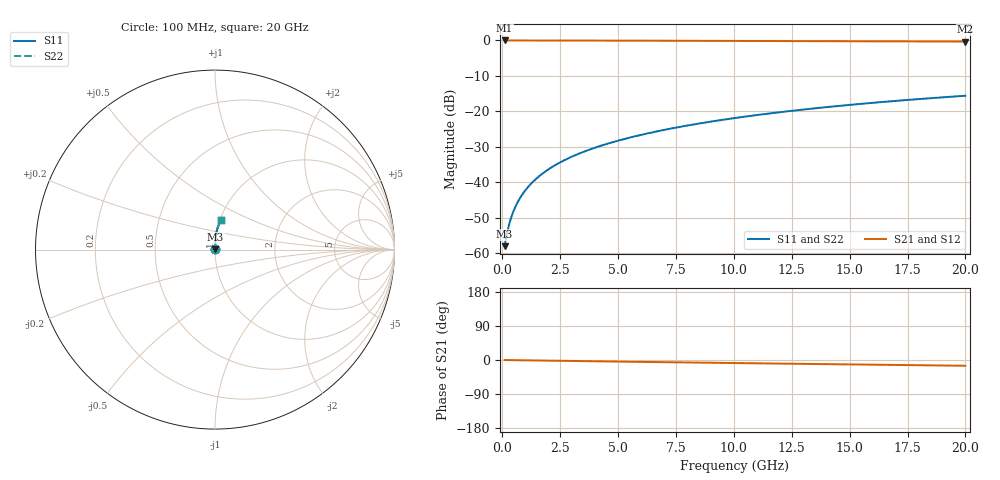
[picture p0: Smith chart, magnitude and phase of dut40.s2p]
! Touchstone file exported from HFSS 2024.1.0
!  File:  C:/UserFiles/LocalFiles/RDL_TSV_Batchsim/temp_RDL_bottom_40_1778692555.aedt
!  Generated:  01:18:01 AM May 14, 2026
!  Design:  RDL_bottom
!  Project:  temp_RDL_bottom_40_1778692555
!  Setup:  Setup1
!  Solution:  Sweep
! Variables:
!  dtsv = 10.80580581um
!  hbump = 3um
!  htsv = 79.98um
!  ldown = 195.08um
!  lrdl = 100um
!  p = 40
!  p1 = 44.2um
!  rhole = 1um
!  t = 450um
!  tdown = 4.63um
!  trdl = 3.915915916um
!  wdown = 18.91um
!  wrdl = 20um
# GHz S MA R 50.000000
! Terminal data exported
! Port[1] = RDL1_T1
! Port[2] = RDL1_T2
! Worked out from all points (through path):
!   200 points, 100 MHz to 20 GHz, reference 50 ohm
!   highest |S21| = -0.01 dB at 100 MHz (marker M1); lowest = -0.3 dB at 20 GHz (marker M2)
!   group delay of S21, straight-line fit = 2.09 ps
!   lowest |S11| = -58.1 dB at 100 MHz (marker M3), VSWR 1.00, Z = 50.1 + j0.0819 ohm
!   |S11| at or under -10 dB: start of sweep to end of sweep
!   |S22| runs from -58.1 to -15.6 dB; largest |S21 - S12| = 2.2e-15
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0.1  0.001247 41.0  0.9991 -0.1  0.9991 -0.1  0.001247 41.0
! Gamma 0 0 0 0
! Port Impedance 50 0 50 0
0.2  0.001884 58.4  0.999 -0.2  0.999 -0.2  0.001884 58.4
0.3  0.002579 66.6  0.9989 -0.3  0.9989 -0.3  0.002579 66.6
0.4  0.003291 71.3  0.9989 -0.4  0.9989 -0.4  0.003291 71.3
0.5  0.004011 74.5  0.9989 -0.4  0.9989 -0.4  0.004011 74.5
0.6  0.004738 76.7  0.9988 -0.5  0.9988 -0.5  0.004738 76.7
0.8  0.006209 79.8  0.9987 -0.7  0.9987 -0.7  0.006209 79.8
1.1  0.008439 82.4  0.9986 -1.0  0.9986 -1.0  0.008439 82.4
1.5  0.01144 84.3  0.9983 -1.3  0.9983 -1.3  0.01144 84.3
1.8  0.0137 85.2  0.9981 -1.5  0.9981 -1.5  0.0137 85.2
2.1  0.01598 85.9  0.9978 -1.8  0.9978 -1.8  0.01598 85.9
2.7  0.02055 86.7  0.9971 -2.3  0.9971 -2.3  0.02055 86.7
3.5  0.0267 87.3  0.9961 -3.0  0.9961 -3.0  0.0267 87.3
4.2  0.03215 87.6  0.995 -3.6  0.995 -3.6  0.03215 87.6
5  0.03847 87.8  0.9936 -4.2  0.9936 -4.2  0.03847 87.8
5.9  0.04569 87.8  0.992 -4.9  0.992 -4.9  0.04569 87.8
6.8  0.05303 87.7  0.9903 -5.6  0.9903 -5.6  0.05303 87.7
8.4  0.06635 87.2  0.9872 -6.8  0.9872 -6.8  0.06636 87.2
10.1  0.0808 86.4  0.9838 -8.1  0.9838 -8.1  0.0808 86.4
13.4  0.1092 84.2  0.9773 -10.5  0.9773 -10.5  0.1092 84.2
16.7  0.1377 81.7  0.9709 -12.9  0.9709 -12.9  0.1377 81.7
20  0.1657 79.1  0.9643 -15.2  0.9643 -15.2  0.1657 79.1
